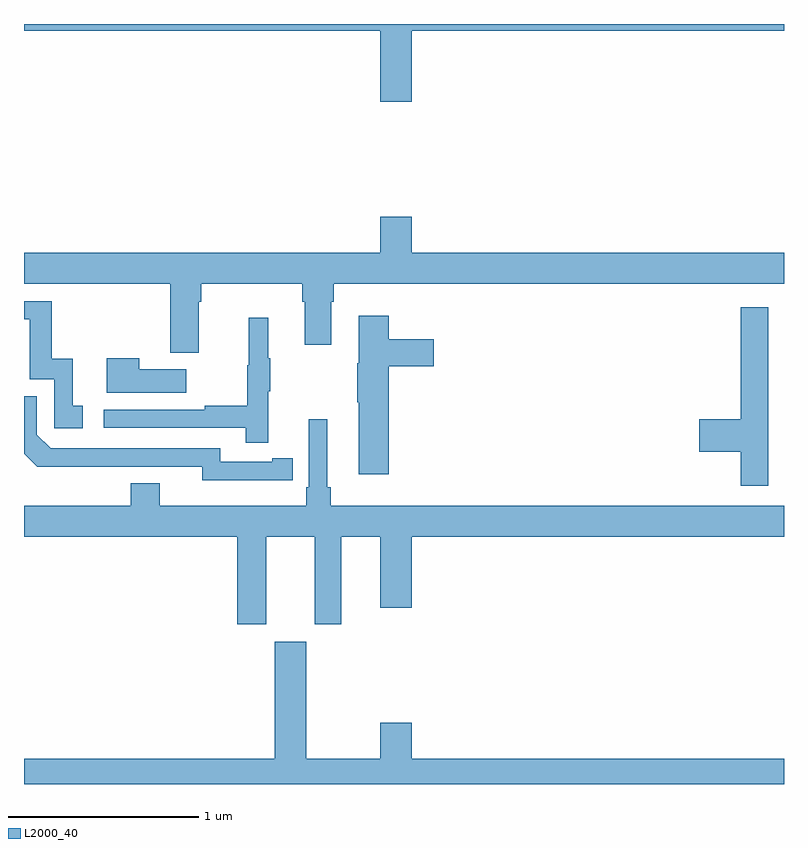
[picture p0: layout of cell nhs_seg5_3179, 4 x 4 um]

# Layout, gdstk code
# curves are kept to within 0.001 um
import gdstk
lib = gdstk.Library(unit=1e-6, precision=1e-09)
def P(c, l, *ps):  # polygons
    for p in ps: c.add(gdstk.Polygon(p, *l))
L2000_40 = (2000, 40)

nhs_seg5_3179 = lib.new_cell('nhs_seg5_3179')
P(nhs_seg5_3179, L2000_40, [(297.04,852.764),(299,852.764),(299,852.799),(295,852.799),(295,852.764),(296.876,852.764),(296.876,852.39),(297.04,852.39)],
  [(295.921,851.336),(295.934,851.336),(295.934,851.432),(296.465,851.432),(296.465,851.336),(296.477,851.336),(296.477,851.112),(296.617,851.112),(296.617,851.336),(296.63,851.336),(296.63,851.432),(299,851.432),(299,851.596),(297.04,851.596),(297.04,851.785),(296.876,851.785),(296.876,851.596),(295,851.596),(295,851.432),(295.769,851.432),(295.769,851.07),(295.921,851.07)],
  [(295.309,850.791),(295.256,850.791),(295.256,851.038),(295.145,851.038),(295.145,851.34),(295,851.34),(295,851.244),(295.029,851.244),(295.029,850.929),(295.158,850.929),(295.158,850.671),(295.309,850.671)],
  [(298.918,851.308),(298.772,851.308),(298.772,850.718),(298.554,850.718),(298.554,850.547),(298.772,850.547),(298.772,850.368),(298.918,850.368)],
  [(296.921,850.997),(297.157,850.997),(297.157,851.139),(296.921,851.139),(296.921,851.263),(296.762,851.263),(296.762,851.013),(296.755,851.013),(296.755,850.807),(296.762,850.807),(296.762,850.428),(296.921,850.428)],
  [(296.285,850.867),(296.296,850.867),(296.296,851.041),(296.285,851.041),(296.285,851.254),(296.182,851.254),(296.182,851.004),(296.175,851.004),(296.175,850.79),(295.951,850.79),(295.951,850.77),(295.419,850.77),(295.419,850.674),(296.167,850.674),(296.167,850.596),(296.285,850.596)],
  [(295.855,850.981),(295.607,850.981),(295.607,851.041),(295.436,851.041),(295.436,850.859),(295.855,850.859)],
  [(296.306,850.398),(296.414,850.398),(296.414,850.514),(296.306,850.514),(296.306,850.494),(296.034,850.494),(296.034,850.566),(295.14,850.566),(295.068,850.638),(295.068,850.839),(295,850.839),(295,850.538),(295.07,850.469),(295.938,850.47),(295.938,850.397)],
  [(296.275,850.1),(296.531,850.1),(296.531,849.639),(296.671,849.639),(296.671,850.1),(296.876,850.1),(296.876,849.726),(297.04,849.726),(297.04,850.1),(299,850.1),(299,850.264),(296.615,850.264),(296.615,850.36),(296.596,850.36),(296.596,850.72),(296.499,850.72),(296.499,850.36),(296.486,850.36),(296.486,850.264),(295.714,850.264),(295.714,850.381),(295.562,850.381),(295.562,850.264),(295,850.264),(295,850.1),(296.123,850.1),(296.123,849.639),(296.275,849.639)],
  [(299,848.932),(297.04,848.932),(297.04,849.121),(296.876,849.121),(296.876,848.932),(296.485,848.932),(296.485,849.547),(296.321,849.547),(296.321,848.932),(295,848.932),(295,848.799),(299,848.799)])

lib.write_gds('nhs_seg5_3179.gds')
